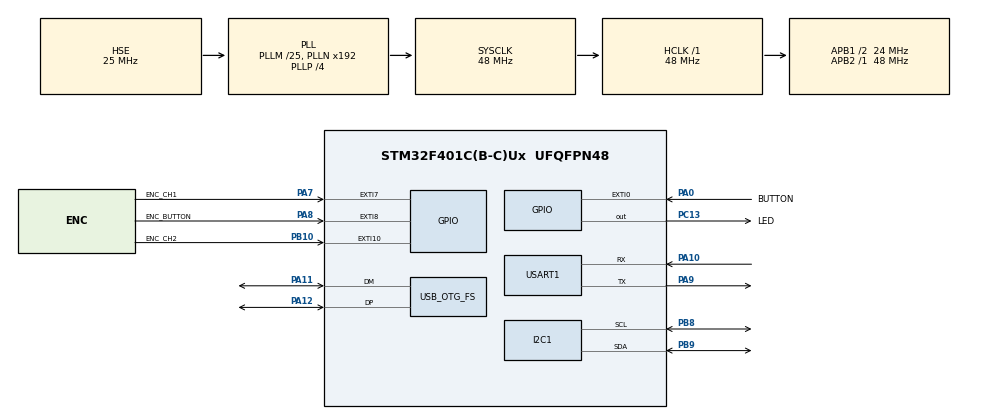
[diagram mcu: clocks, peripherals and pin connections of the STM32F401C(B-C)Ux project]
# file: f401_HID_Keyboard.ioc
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Mcu.Family=STM32F4
Mcu.Name=STM32F401C(B-C)Ux
Mcu.Package=UFQFPN48
NVIC.EXTI0_IRQn=true\:0\:0\:false\:false\:true\:true\:true\:true
NVIC.EXTI15_10_IRQn=true\:0\:0\:false\:false\:true\:true\:true\:true
NVIC.EXTI9_5_IRQn=true\:0\:0\:false\:false\:true\:true\:true\:true
NVIC.OTG_FS_IRQn=true\:0\:0\:false\:false\:true\:false\:true\:true
NVIC.PriorityGroup=NVIC_PRIORITYGROUP_4
NVIC.TIM1_UP_TIM10_IRQn=true\:0\:0\:false\:false\:true\:true\:true\:true
PA0-WKUP.GPIO_Label=BUTTON
PA0-WKUP.GPIO_ModeDefaultEXTI=GPIO_MODE_IT_FALLING
PA0-WKUP.GPIO_PuPd=GPIO_PULLUP
PA0-WKUP.Signal=GPXTI0
PA10.Mode=Asynchronous
PA10.Signal=USART1_RX
PA11.Mode=Device_Only
PA11.Signal=USB_OTG_FS_DM
PA12.Mode=Device_Only
PA12.Signal=USB_OTG_FS_DP
PA7.GPIO_Label=ENC_CH1
PA7.Signal=GPXTI7
PA8.GPIO_Label=ENC_BUTTON
PA8.GPIO_ModeDefaultEXTI=GPIO_MODE_IT_RISING_FALLING
PA8.Signal=GPXTI8
PA9.Mode=Asynchronous
PA9.Signal=USART1_TX
PB10.GPIO_Label=ENC_CH2
PB10.Signal=GPXTI10
PB8.Mode=I2C
PB8.Signal=I2C1_SCL
PB9.Mode=I2C
PB9.Signal=I2C1_SDA
PC13-ANTI_TAMP.GPIO_Label=LED
PC13-ANTI_TAMP.Signal=GPIO_Output
PH0\ -\ OSC_IN.Mode=HSE-External-Oscillator
PH0\ -\ OSC_IN.Signal=RCC_OSC_IN
PH1\ -\ OSC_OUT.Mode=HSE-External-Oscillator
PH1\ -\ OSC_OUT.Signal=RCC_OSC_OUT
ProjectManager.HeapSize=0x200
ProjectManager.StackSize=0x400
ProjectManager.TargetToolchain=STM32CubeIDE
RCC.48MHZClocksFreq_Value=48000000
RCC.AHBFreq_Value=48000000
RCC.APB1CLKDivider=RCC_HCLK_DIV2
RCC.APB1Freq_Value=24000000
RCC.APB1TimFreq_Value=48000000
RCC.APB2Freq_Value=48000000
RCC.APB2TimFreq_Value=48000000
RCC.CortexFreq_Value=48000000
RCC.HCLKFreq_Value=48000000
RCC.HSE_VALUE=25000000
RCC.HSI_VALUE=16000000
RCC.LSE_VALUE=32768
RCC.PLLM=25
RCC.PLLP=RCC_PLLP_DIV4
RCC.SYSCLKFreq_VALUE=48000000
RCC.SYSCLKSource=RCC_SYSCLKSOURCE_PLLCLK
RCC.VCOOutputFreq_Value=192000000
TIM10.Channel=TIM_CHANNEL_1
TIM10.Prescaler=4800-1
USART1.VirtualMode=VM_ASYNC
USB_DEVICE.CLASS_NAME_FS=HID
USB_DEVICE.VirtualMode=Hid
USB_DEVICE.VirtualModeFS=Hid_FS
USB_OTG_FS.VirtualMode=Device_Only
VP_TIM10_VS_ClockSourceINT.Mode=Enable_Timer
VP_TIM10_VS_no_output1.Mode=Output Compare1 No Output
VP_USB_DEVICE_VS_USB_DEVICE_HID_FS.Mode=HID_FS
board=custom

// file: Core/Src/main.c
/* USER CODE BEGIN Header */
/**
  ******************************************************************************
  * @file           : main.c
  * @brief          : Main program body
  ******************************************************************************
  * @attention
  *
  * Copyright (c) 2022 STMicroelectronics.
  * All rights reserved.
  *
  * This software is licensed under terms that can be found in the LICENSE file
  * in the root directory of this software component.
  * If no LICENSE file comes with this software, it is provided AS-IS.
  *
  ******************************************************************************
  */
/* USER CODE END Header */
#include "main.h"
#include "usb_device.h"

/* USER CODE BEGIN Includes */
#include "usbd_hid.h"
#include <stdio.h>
#include <string.h>
#include "ssd1306.h"
#include <stdbool.h>
#include "Password.h"
/* USER CODE END Includes */

/* USER CODE BEGIN PD */
#define TIME_HOLD 350
#define TIME_DEBOUNSE 20

#define PASSWORD_COUNT 5
#define PASSWORD_LENGHT 50
/* USER CODE END PD */

I2C_HandleTypeDef hi2c1;

TIM_HandleTypeDef htim10;

UART_HandleTypeDef huart1;

/* USER CODE BEGIN PV */
volatile uint8_t moveRight;	//variables for reading of encoder move
volatile uint8_t moveLeft;

uint8_t mode;	//variable for main and settings menu choose

volatile uint8_t click, hold;	//variable for counting the clicks and holds of button

volatile uint8_t enc_status, enc_last_status; //variable for encoder reading
volatile uint32_t timer_press, timer_release; //variable for button click and hold

enum {				//modes of device
	MODE_PRINT,
	MODE_SETTINGS,
}MODES;

extern USBD_HandleTypeDef hUsbDeviceFS;
/*=======Settings structure========*/
struct{
	uint8_t print_login;
	uint8_t print_password;
}settings;
/*=======Keyboard structure======*/
typedef struct{
	uint8_t MODIFIER;
	uint8_t RESERVED;
	uint8_t KEYCODE1;
	uint8_t KEYCODE2;
	uint8_t KEYCODE3;
	uint8_t KEYCODE4;
	uint8_t KEYCODE5;
	uint8_t KEYCODE6;
}KeyboardHID;

KeyboardHID keybHID = {0, 0, 0, 0, 0, 0, 0, 0}; // init keyboard structure

/*=====Fonts of displays, not obligatory, need only for autocomplete========*/
extern FontDef Font_6x8;
extern FontDef Font_7x10;
extern FontDef Font_11x18;
extern FontDef Font_16x26;

/* USER CODE END PV */

void SystemClock_Config(void);
static void MX_GPIO_Init(void);
static void MX_USART1_UART_Init(void);
static void MX_I2C1_Init(void);
static void MX_TIM10_Init(void);
/* USER CODE BEGIN PFP */
void print_char(char *buff, uint16_t size);
void print_HID(uint8_t nomer);
void draw_disp_main(uint8_t *nomer);
void draw_disp_settings();
/* USER CODE END PFP */

int main(void)
{

  /* MCU Configuration--------------------------------------------------------*/

  /* Reset of all peripherals, Initializes the Flash interface and the Systick. */
  HAL_Init();

  /* Configure the system clock */
  SystemClock_Config();

  /* Initialize all configured peripherals */
  MX_GPIO_Init();
  MX_USB_DEVICE_Init();
  MX_USART1_UART_Init();
  MX_I2C1_Init();
  MX_TIM10_Init();

  /* Infinite loop */
  /* USER CODE BEGIN WHILE */

  /*======Set default setings========*/
  settings.print_login = 1;
  settings.print_password = 1;

  /*======Init display and print Start=======*/
  ssd1306_Init();
  ssd1306_Fill(Black);
  ssd1306_SetCursor(0, 0);
  ssd1306_WriteString("Start", Font_16x26, White);
  ssd1306_UpdateScreen();
  HAL_Delay(300);

  while (1)
  {
    /* USER CODE END WHILE */

    /* USER CODE BEGIN 3 */
	  static uint8_t nomer = 0;
	  static uint32_t timer_refresh = 0;
	  /*=======Refresh display text every 30ms======*/
	  if(HAL_GetTick() - timer_refresh > 30){
		  timer_refresh = HAL_GetTick();
		  /*====Choose function======*/
		  switch(mode){
		  case MODE_PRINT: draw_disp_main(&nomer);break;
		  case MODE_SETTINGS: draw_disp_settings();break;
		  }
	  }
	  /*======Encoder action in different modes=====*/
	  switch (mode) {
		case MODE_PRINT:{
			if (moveLeft > 0){
			  if (nomer == 0){
				 nomer = PASSWORD_COUNT - 1;
				  moveLeft--;
			  }else{
				 nomer--;
				 moveLeft--;
			  }
			}
			if (moveRight > 0){
				nomer++;
				 if (nomer == PASSWORD_COUNT)nomer = 0;
				 moveRight--;
			}
				if (click == 1){
				click = 0;
				print_HID(nomer);
			}
		}break;
		case MODE_SETTINGS:{

		}break;
	  }
	  /*=======Switch the menu======*/
	  if (hold == 1){
		  hold = 0;
		  mode++;
		  if (mode > MODE_SETTINGS) mode = MODE_PRINT;
	  }

  }
  /* USER CODE END 3 */
}
void SystemClock_Config(void)
{
  RCC_OscInitTypeDef RCC_OscInitStruct = {0};
  RCC_ClkInitTypeDef RCC_ClkInitStruct = {0};

  /** Configure the main internal regulator output voltage
  */
  __HAL_RCC_PWR_CLK_ENABLE();
  __HAL_PWR_VOLTAGESCALING_CONFIG(PWR_REGULATOR_VOLTAGE_SCALE2);

  /** Initializes the RCC Oscillators according to the specified parameters
  * in the RCC_OscInitTypeDef structure.
  */
  RCC_OscInitStruct.OscillatorType = RCC_OSCILLATORTYPE_HSE;
  RCC_OscInitStruct.HSEState = RCC_HSE_ON;
  RCC_OscInitStruct.PLL.PLLState = RCC_PLL_ON;
  RCC_OscInitStruct.PLL.PLLSource = RCC_PLLSOURCE_HSE;
  RCC_OscInitStruct.PLL.PLLM = 25;
  RCC_OscInitStruct.PLL.PLLN = 192;
  RCC_OscInitStruct.PLL.PLLP = RCC_PLLP_DIV4;
  RCC_OscInitStruct.PLL.PLLQ = 4;
  if (HAL_RCC_OscConfig(&RCC_OscInitStruct) != HAL_OK)
  {
    Error_Handler();
  }

  /** Initializes the CPU, AHB and APB buses clocks
  */
  RCC_ClkInitStruct.ClockType = RCC_CLOCKTYPE_HCLK|RCC_CLOCKTYPE_SYSCLK
                              |RCC_CLOCKTYPE_PCLK1|RCC_CLOCKTYPE_PCLK2;
  RCC_ClkInitStruct.SYSCLKSource = RCC_SYSCLKSOURCE_PLLCLK;
  RCC_ClkInitStruct.AHBCLKDivider = RCC_SYSCLK_DIV1;
  RCC_ClkInitStruct.APB1CLKDivider = RCC_HCLK_DIV2;
  RCC_ClkInitStruct.APB2CLKDivider = RCC_HCLK_DIV1;

  if (HAL_RCC_ClockConfig(&RCC_ClkInitStruct, FLASH_LATENCY_1) != HAL_OK)
  {
    Error_Handler();
  }
}

static void MX_I2C1_Init(void)
{

  hi2c1.Instance = I2C1;
  hi2c1.Init.ClockSpeed = 100000;
  hi2c1.Init.DutyCycle = I2C_DUTYCYCLE_2;
  hi2c1.Init.OwnAddress1 = 0;
  hi2c1.Init.AddressingMode = I2C_ADDRESSINGMODE_7BIT;
  hi2c1.Init.DualAddressMode = I2C_DUALADDRESS_DISABLE;
  hi2c1.Init.OwnAddress2 = 0;
  hi2c1.Init.GeneralCallMode = I2C_GENERALCALL_DISABLE;
  hi2c1.Init.NoStretchMode = I2C_NOSTRETCH_DISABLE;
  if (HAL_I2C_Init(&hi2c1) != HAL_OK)
  {
    Error_Handler();
  }

}

static void MX_TIM10_Init(void)
{

  TIM_OC_InitTypeDef sConfigOC = {0};

  htim10.Instance = TIM10;
  htim10.Init.Prescaler = 4800-1;
  htim10.Init.CounterMode = TIM_COUNTERMODE_UP;
  htim10.Init.Period = 65535;
  htim10.Init.ClockDivision = TIM_CLOCKDIVISION_DIV1;
  htim10.Init.AutoReloadPreload = TIM_AUTORELOAD_PRELOAD_DISABLE;
  if (HAL_TIM_Base_Init(&htim10) != HAL_OK)
  {
    Error_Handler();
  }
  if (HAL_TIM_OC_Init(&htim10) != HAL_OK)
  {
    Error_Handler();
  }
  sConfigOC.OCMode = TIM_OCMODE_TIMING;
  sConfigOC.Pulse = 0;
  sConfigOC.OCPolarity = TIM_OCPOLARITY_HIGH;
  sConfigOC.OCFastMode = TIM_OCFAST_DISABLE;
  if (HAL_TIM_OC_ConfigChannel(&htim10, &sConfigOC, TIM_CHANNEL_1) != HAL_OK)
  {
    Error_Handler();
  }

}

static void MX_USART1_UART_Init(void)
{

  huart1.Instance = USART1;
  huart1.Init.BaudRate = 115200;
  huart1.Init.WordLength = UART_WORDLENGTH_8B;
  huart1.Init.StopBits = UART_STOPBITS_1;
  huart1.Init.Parity = UART_PARITY_NONE;
  huart1.Init.Mode = UART_MODE_TX_RX;
  huart1.Init.HwFlowCtl = UART_HWCONTROL_NONE;
  huart1.Init.OverSampling = UART_OVERSAMPLING_16;
  if (HAL_UART_Init(&huart1) != HAL_OK)
  {
    Error_Handler();
  }

}

static void MX_GPIO_Init(void)
{
  GPIO_InitTypeDef GPIO_InitStruct = {0};

  /* GPIO Ports Clock Enable */
  __HAL_RCC_GPIOC_CLK_ENABLE();
  __HAL_RCC_GPIOH_CLK_ENABLE();
  __HAL_RCC_GPIOA_CLK_ENABLE();
  __HAL_RCC_GPIOB_CLK_ENABLE();

  /*Configure GPIO pin Output Level */
  HAL_GPIO_WritePin(LED_GPIO_Port, LED_Pin, GPIO_PIN_RESET);

  /*Configure GPIO pin : LED_Pin */
  GPIO_InitStruct.Pin = LED_Pin;
  GPIO_InitStruct.Mode = GPIO_MODE_OUTPUT_PP;
  GPIO_InitStruct.Pull = GPIO_NOPULL;
  GPIO_InitStruct.Speed = GPIO_SPEED_FREQ_LOW;
  HAL_GPIO_Init(LED_GPIO_Port, &GPIO_InitStruct);

  /*Configure GPIO pin : BUTTON_Pin */
  GPIO_InitStruct.Pin = BUTTON_Pin;
  GPIO_InitStruct.Mode = GPIO_MODE_IT_FALLING;
  GPIO_InitStruct.Pull = GPIO_PULLUP;
  HAL_GPIO_Init(BUTTON_GPIO_Port, &GPIO_InitStruct);

  /*Configure GPIO pin : ENC_CH1_Pin */
  GPIO_InitStruct.Pin = ENC_CH1_Pin;
  GPIO_InitStruct.Mode = GPIO_MODE_IT_RISING;
  GPIO_InitStruct.Pull = GPIO_NOPULL;
  HAL_GPIO_Init(ENC_CH1_GPIO_Port, &GPIO_InitStruct);

  /*Configure GPIO pin : ENC_CH2_Pin */
  GPIO_InitStruct.Pin = ENC_CH2_Pin;
  GPIO_InitStruct.Mode = GPIO_MODE_IT_RISING;
  GPIO_InitStruct.Pull = GPIO_NOPULL;
  HAL_GPIO_Init(ENC_CH2_GPIO_Port, &GPIO_InitStruct);

  /*Configure GPIO pin : ENC_BUTTON_Pin */
  GPIO_InitStruct.Pin = ENC_BUTTON_Pin;
  GPIO_InitStruct.Mode = GPIO_MODE_IT_RISING_FALLING;
  GPIO_InitStruct.Pull = GPIO_NOPULL;
  HAL_GPIO_Init(ENC_BUTTON_GPIO_Port, &GPIO_InitStruct);

  /* EXTI interrupt init*/
  HAL_NVIC_SetPriority(EXTI0_IRQn, 0, 0);
  HAL_NVIC_EnableIRQ(EXTI0_IRQn);

  HAL_NVIC_SetPriority(EXTI9_5_IRQn, 0, 0);
  HAL_NVIC_EnableIRQ(EXTI9_5_IRQn);

  HAL_NVIC_SetPriority(EXTI15_10_IRQn, 0, 0);
  HAL_NVIC_EnableIRQ(EXTI15_10_IRQn);

}

/* USER CODE BEGIN 4 */
void HAL_GPIO_EXTI_Callback(uint16_t GPIO_Pin){
	/*======Encoder button code========*/
	if (GPIO_Pin == ENC_BUTTON_Pin){
		if(HAL_GPIO_ReadPin(ENC_BUTTON_GPIO_Port, ENC_BUTTON_Pin) == GPIO_PIN_RESET){
			timer_press = HAL_GetTick();
		}else{
			timer_release = HAL_GetTick();
			if (timer_release - timer_press > TIME_HOLD){
				hold++;
			}else if(timer_release - timer_press > TIME_DEBOUNSE){
				click++;
			}

		}
	}
	/*=====Encoder rotation code, CH2=========*/
	if(GPIO_Pin == ENC_CH2_Pin){
		/*======Forming byte of status========*/
		enc_status = 0x00|((HAL_GPIO_ReadPin(ENC_CH1_GPIO_Port, ENC_CH1_Pin) << 4) | (HAL_GPIO_ReadPin(ENC_CH2_GPIO_Port, ENC_CH2_Pin)));
		/*======Chose one of the variant=======*/
		if ((enc_last_status == 0x10 && enc_status == 0x11) || (enc_last_status == 0x01 && enc_status == 0x00)){
			moveRight++; //Change to moveLeft, if rotation direction incorrect
		}

		if (enc_last_status == 0x11 && enc_status == 0x10) {
			enc_last_status = 0x10;
		}else if (enc_last_status == 0x00 && enc_status == 0x01) {
			enc_last_status = 0x01;
		}else if ((enc_last_status == 0x10 && enc_status == 0x00) || (enc_last_status == 0x01 && enc_status == 0x11)){
			moveLeft++; //Change to moveRight, if rotation direction incorrect
		}

		enc_last_status = enc_status;
	}
	/*=========Code must be equal to both channels, CH1==========*/
	if(GPIO_Pin == ENC_CH1_Pin){
		enc_status = 0x00|((HAL_GPIO_ReadPin(ENC_CH1_GPIO_Port, ENC_CH1_Pin) << 4) | (HAL_GPIO_ReadPin(ENC_CH2_GPIO_Port, ENC_CH2_Pin)));

		if ((enc_last_status == 0x10 && enc_status == 0x11) || (enc_last_status == 0x01 && enc_status == 0x00)){
			moveRight++;//Change to moveLeft, if rotation direction incorrect
		}

		if (enc_last_status == 0x11 && enc_status == 0x10) {
			enc_last_status = 0x10;
		}else if (enc_last_status == 0x00 && enc_status == 0x01) {
			enc_last_status = 0x01;
		}else if ((enc_last_status == 0x10 && enc_status == 0x00) || (enc_last_status == 0x01 && enc_status == 0x11)){
			moveLeft++;//Change to moveRight, if rotation direction incorrect
		}

		enc_last_status = enc_status;
	}
	/*=======Onboard button code=======*/
	if (GPIO_Pin == GPIO_PIN_0){
		moveRight++;
	}

}
void print_HID(uint8_t nomer){
	/*========Display process of printing =========*/
	 ssd1306_Fill(Black);
	 ssd1306_SetCursor(0, 0);
	 ssd1306_WriteString("Printing", Font_7x10, White);
	 ssd1306_UpdateScreen();

	 /*========Print login===========*/
	 if(settings.print_login == 1){
		 char login_print[30];
		 for(uint8_t i = 0; i < 30; i++){
			 login_print[i] = login[nomer][i];
		 }
		 print_char(login_print, sizeof(login_print));
		 /*========Print TAB=====*/
		 if(settings.print_password == 1){
			 keybHID.KEYCODE1 = 0x2B;
			 	 USBD_HID_SendReport(&hUsbDeviceFS, &keybHID, sizeof(keybHID));
			 	 HAL_Delay(50);
			 	 keybHID.KEYCODE1 = 0x00;
			 	 USBD_HID_SendReport(&hUsbDeviceFS, &keybHID, sizeof(keybHID));
			 	 HAL_Delay(50);
		 }
	 }
	 /*=========Print password===========*/
	 if (settings.print_password == 1){
		 char password_print[PASSWORD_LENGHT];
		 for(uint8_t i = 0; i < PASSWORD_LENGHT; i++){
		 		 password_print[i] = password[nomer][i];
		 }
		 print_char(password_print, sizeof(password_print));
	 }
}

void print_char(char *buff, uint16_t size){

	for (uint16_t i = 0; i < size; i++){
		uint8_t nom_of_symbol = 0;
		uint8_t shift = 0;
		/*=====Big letter=========*/
		if ((buff[i] ) >= 65 && buff[i] <= 90){
			shift = 1;
			uint8_t nom_of_letter = buff[i] - 65;
			nom_of_symbol = nom_of_letter + 4;
		}
		/*======Small letter======*/
		if (buff[i] >= 97 && buff[i] <= 122){
			shift = 0;
			uint8_t nom_of_letter =	buff[i] - 97;
			nom_of_symbol = nom_of_letter + 4;
		}
		/*========Numbers=========*/
		if (buff[i] >= 49 && buff[i] <= 57){
			shift = 0;
			uint8_t nom_of_letter =	buff[i] - 49;
			nom_of_symbol = nom_of_letter + 30;
		}
		/*========Symbols==========*/
		switch (buff[i]){
		case ' ':{shift = 0; nom_of_symbol = 0x2C;}break;
		case '!':{shift = 1; nom_of_symbol = 30;}break;
		case '@':{shift = 1; nom_of_symbol = 31;}break;
		case '#':{shift = 1; nom_of_symbol = 32;}break;
		case '$':{shift = 1; nom_of_symbol = 33;}break;
		case '%':{shift = 1; nom_of_symbol = 34;}break;
		case '^':{shift = 1; nom_of_symbol = 35;}break;
		case '&':{shift = 1; nom_of_symbol = 36;}break;
		case '*':{shift = 1; nom_of_symbol = 37;}break;
		case '(':{shift = 1; nom_of_symbol = 38;}break;
		case ')':{shift = 1; nom_of_symbol = 39;}break;
		case '.':{shift = 0; nom_of_symbol = 55;}break;
		case '0':{shift = 0; nom_of_symbol = 39;}break;
		case '_':{shift = 1; nom_of_symbol = 0x2D;}break;
		case '-':{shift = 0; nom_of_symbol = 0x2D;}break;
		}
		/*=======UART debug information========*/
		char uart_buff[100];
		sprintf(uart_buff, "Char: %c shift: %d, code: %d\r\n", buff[i], shift, nom_of_symbol);
		HAL_UART_Transmit(&huart1, uart_buff, strlen(uart_buff), 1000);
		/*=======Press buttons=========*/
		if (shift == 1) keybHID.MODIFIER = 0x02;
		keybHID.KEYCODE1 = nom_of_symbol;
		USBD_HID_SendReport(&hUsbDeviceFS, &keybHID, sizeof(keybHID));
		HAL_Delay(15);
		/*======Release buttons========*/
		if (shift == 1) keybHID.MODIFIER = 0x00;
		keybHID.KEYCODE1 = 0x00;
		USBD_HID_SendReport(&hUsbDeviceFS, &keybHID, sizeof(keybHID));
		HAL_Delay(15);
	}
}

void draw_disp_main(uint8_t *mode){
	ssd1306_Fill(Black);
	/*=======Print account name=========*/
	char account_name [15];
	for (uint8_t i = 0; i < 15; i++){
		account_name[i] = name_of_account[*mode][i];
	}
	ssd1306_SetCursor(0, 0);
	ssd1306_WriteString(account_name, Font_11x18, White);

	/*========Print settings minimal=======*/
	char print_info[16];
	ssd1306_SetCursor(0, 20);
	if(settings.print_login == 1 && settings.print_password == 1){
		sprintf(print_info, "Print all");
	}
	if(settings.print_login == 1 && settings.print_password == 0){
		sprintf(print_info, "Login only");
	}
	if(settings.print_login == 0 && settings.print_password == 1){
		sprintf(print_info, "Password only");
	}
	if(settings.print_login == 0 && settings.print_password == 0){
		sprintf(print_info, "No print");
	}
	ssd1306_WriteString(print_info, Font_7x10, White);
	/*======Technical info=======*/
	/*
	char buff[16];
	ssd1306_SetCursor(0, 22);
	sprintf(buff, "Menu: %d Cl: %d, H: %d", *mode, click, hold);
	ssd1306_WriteString(buff, Font_6x8, White);
	*/
	ssd1306_UpdateScreen();
}
void draw_disp_settings(){
	ssd1306_Fill(Black);
	static uint8_t position;
	/*======Base text========*/
	ssd1306_SetCursor(0, 0);
	ssd1306_WriteString("Print", Font_7x10, White);
	ssd1306_SetCursor(10, 11);
	ssd1306_WriteString("Login", Font_7x10, White);
	ssd1306_SetCursor(10, 22);
	ssd1306_WriteString("Password", Font_7x10, White);
	/*=======Parameters=======*/
	char par_log[3];
	char par_pas[3];
	sprintf(par_log, (settings.print_login == 0) ? "OFF": "ON");
	sprintf(par_pas, (settings.print_password == 0) ? "OFF": "ON");
	ssd1306_SetCursor(100, 11);
	ssd1306_WriteString(par_log, Font_7x10, White);
	ssd1306_SetCursor(100, 22);
	ssd1306_WriteString(par_pas, Font_7x10, White);
	/*=======Pointer=========*/
	if(position == 0){
		ssd1306_SetCursor(0, 11);
	}else{
		ssd1306_SetCursor(0, 22);
	}
	ssd1306_WriteChar('>', Font_7x10, White);
	//move pointer
	if (moveLeft > 0){
		moveLeft--;
		if (position == 0){
			position = 1;
		}else{
			position--;
		}
	}
	if(moveRight > 0){
		moveRight--;
		position++;
		if (position > 1)position = 0;
	}
	/*=======Change parameters=======*/
	if(click){
		if(position == 0) settings.print_login = !settings.print_login;
		if(position == 1) settings.print_password = !settings.print_password;
		click--;
	}
	ssd1306_UpdateScreen();

}
/* USER CODE END 4 */

void Error_Handler(void)
{
  __disable_irq();
  while (1)
  {
  }
}
